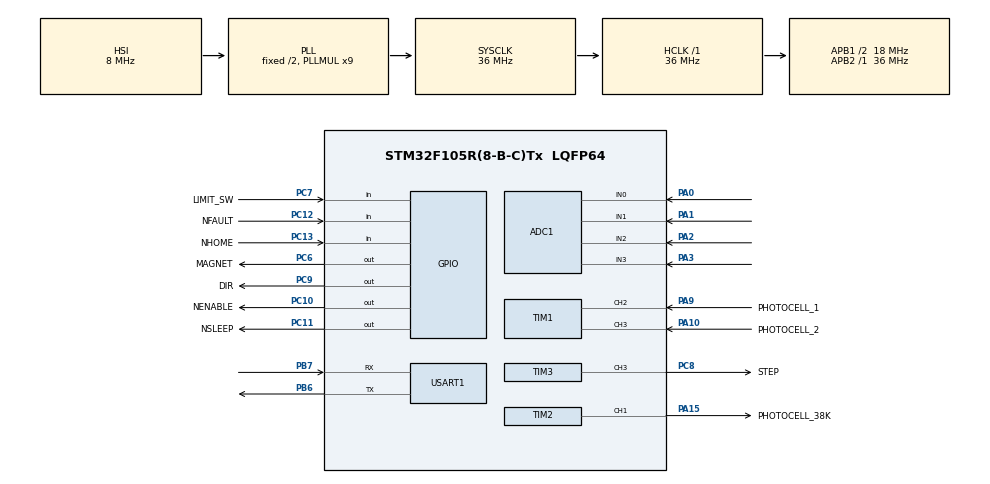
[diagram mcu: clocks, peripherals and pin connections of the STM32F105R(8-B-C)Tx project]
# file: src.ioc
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ADC1.Channel-0\#ChannelRegularConversion=ADC_CHANNEL_0
ADC1.NbrOfConversionFlag=1
ADC1.Rank-0\#ChannelRegularConversion=1
ADC1.SamplingTime-0\#ChannelRegularConversion=ADC_SAMPLETIME_1CYCLE_5
ADC1.master=1
Mcu.Family=STM32F1
Mcu.Name=STM32F105R(8-B-C)Tx
Mcu.Package=LQFP64
NVIC.PriorityGroup=NVIC_PRIORITYGROUP_4
PA0-WKUP.Signal=ADCx_IN0
PA1.Signal=ADCx_IN1
PA10.GPIO_Label=PHOTOCELL_2
PA10.Signal=S_TIM1_CH3
PA13.Mode=Serial_Wire
PA13.Signal=SYS_JTMS-SWDIO
PA14.Mode=Serial_Wire
PA14.Signal=SYS_JTCK-SWCLK
PA15.GPIO_Label=PHOTOCELL_38K
PA15.Signal=S_TIM2_CH1_ETR
PA2.Signal=ADCx_IN2
PA3.Signal=ADCx_IN3
PA9.GPIO_Label=PHOTOCELL_1
PA9.Signal=S_TIM1_CH2
PB6.Mode=Asynchronous
PB6.Signal=USART1_TX
PB7.Mode=Asynchronous
PB7.Signal=USART1_RX
PC10.GPIO_Label=NENABLE
PC10.Signal=GPIO_Output
PC11.GPIO_Label=NSLEEP
PC11.Signal=GPIO_Output
PC12.GPIO_Label=NFAULT
PC12.Signal=GPIO_Input
PC13-TAMPER-RTC.GPIO_Label=NHOME
PC13-TAMPER-RTC.Signal=GPIO_Input
PC6.GPIO_Label=MAGNET
PC6.Signal=GPIO_Output
PC7.GPIO_Label=LIMIT_SW
PC7.Signal=GPIO_Input
PC8.GPIO_Label=STEP
PC8.Signal=S_TIM3_CH3
PC9.GPIO_Label=DIR
PC9.Signal=GPIO_Output
PD0-OSC_IN.Mode=HSE-External-Oscillator
PD0-OSC_IN.Signal=RCC_OSC_IN
PD1-OSC_OUT.Mode=HSE-External-Oscillator
PD1-OSC_OUT.Signal=RCC_OSC_OUT
ProjectManager.HeapSize=0x200
ProjectManager.StackSize=0x400
ProjectManager.TargetToolchain=STM32CubeIDE
RCC.ADCPresc=RCC_ADCPCLK2_DIV6
RCC.AHBFreq_Value=36000000
RCC.APB1CLKDivider=RCC_HCLK_DIV2
RCC.APB1Freq_Value=18000000
RCC.APB1TimFreq_Value=36000000
RCC.APB2Freq_Value=36000000
RCC.APB2TimFreq_Value=36000000
RCC.HCLKFreq_Value=36000000
RCC.HSEDivPLL=RCC_HSE_PREDIV_DIV2
RCC.HSE_VALUE=16000000
RCC.PLLMUL=RCC_PLL_MUL9
RCC.SYSCLKFreq_VALUE=36000000
RCC.SYSCLKSource=RCC_SYSCLKSOURCE_PLLCLK
RCC.USBFreq_Value=24000000
SH.ADCx_IN0.0=ADC1_IN0,IN0
SH.ADCx_IN1.0=ADC1_IN1,IN1
SH.ADCx_IN2.0=ADC1_IN2,IN2
SH.ADCx_IN3.0=ADC1_IN3,IN3
SH.S_TIM1_CH2.0=TIM1_CH2,Input_Capture2_from_TI2
SH.S_TIM1_CH3.0=TIM1_CH3,Input_Capture3_from_TI3
SH.S_TIM2_CH1_ETR.0=TIM2_CH1,PWM Generation1 CH1
SH.S_TIM3_CH3.0=TIM3_CH3,PWM Generation3 CH3
TIM1.Channel-Input_Capture2_from_TI2=TIM_CHANNEL_2
TIM1.Channel-Input_Capture3_from_TI3=TIM_CHANNEL_3
TIM2.Channel-PWM\ Generation1\ CH1=TIM_CHANNEL_1
TIM3.Channel-PWM\ Generation3\ CH3=TIM_CHANNEL_3
TIM3.Period=9
TIM3.Prescaler=35999
USART1.VirtualMode=VM_ASYNC
VP_TIM1_VS_ClockSourceINT.Mode=Internal
VP_TIM2_VS_ClockSourceINT.Mode=Internal
VP_TIM3_VS_ClockSourceINT.Mode=Internal
board=custom

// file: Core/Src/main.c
/* USER CODE BEGIN Header */
/**
  ******************************************************************************
  * @file           : main.c
  * @brief          : Main program body
  ******************************************************************************
  * @attention
  *
  * Copyright (c) 2025 STMicroelectronics.
  * All rights reserved.
  *
  * This software is licensed under terms that can be found in the LICENSE file
  * in the root directory of this software component.
  * If no LICENSE file comes with this software, it is provided AS-IS.
  *
  ******************************************************************************
  */
/* USER CODE END Header */
#include "main.h"

/* USER CODE BEGIN Includes */

#include "stdint.h"
#include <stdbool.h>

/* USER CODE END Includes */

/* USER CODE BEGIN PTD */

typedef enum cmd_t
{
  cmdToRaise = 1234,
  cmdToDrop = 5678,
  cmdRaised = 4321,
  cmdDropped = 8765
} cmd_t;

/* USER CODE END PTD */

ADC_HandleTypeDef hadc1;

TIM_HandleTypeDef htim1;
TIM_HandleTypeDef htim2;
TIM_HandleTypeDef htim3;

UART_HandleTypeDef huart1;

void SystemClock_Config(void);
static void MX_GPIO_Init(void);
static void MX_ADC1_Init(void);
static void MX_TIM1_Init(void);
static void MX_TIM2_Init(void);
static void MX_TIM3_Init(void);
static void MX_USART1_UART_Init(void);

/* USER CODE BEGIN 0 */

//-----------------------------------------------------------------------------//

// Transmit data on UART
bool uartDataTx(uint8_t *data, uint16_t size)
{
  HAL_UART_Transmit(&huart1, data, size, 1000);
  return true;
}

// Receive data on UART
bool uartDataRx(uint8_t *data, uint16_t size)
{
  HAL_UART_Receive(&huart1, data, size, HAL_MAX_DELAY);
  return true;
}

//-----------------------------------------------------------------------------//

uint32_t calcDelay(uint32_t height)
{
  // TODO: Get time amount of stepper with given height, input here for proper calculation of delay
  return height * 2;
}

bool moveStepper(direction)
{
  // Set the stepper direction
  HAL_GPIO_WritePin(DIR_GPIO_Port, DIR_Pin, direction);

  // Get time from serial
  uint8_t height;
  uartDataRx(&height, sizeof(uint8_t));

  // Calculate the time for the delay during raising platform
  uint32_t delay = calcDelay(height);

  // Turn on the PWM for the stepper (100 Hz)
  HAL_TIM_PWM_Start(&htim3, TIM_CHANNEL_3);

  // Time duration of the PWM (calculated using calcDelay())
  HAL_Delay(delay);

  // Stop stepper
  HAL_TIM_PWM_Stop(&htim3, TIM_CHANNEL_3);
}

//-----------------------------------------------------------------------------//

void raise_fun()
{
  // Send response after getting request to raise platform
  uartDataTx((uint8_t*)cmdToRaise, sizeof(uint8_t));

  // Turn on electromagnet to catch the ball
  HAL_GPIO_WritePin(MAGNET_GPIO_Port, MAGNET_Pin, GPIO_PIN_SET);

  // Move stepper
  moveStepper(GPIO_PIN_RESET);

  // Send response after raising the platform
  uartDataTx((uint8_t*)cmdRaised, sizeof(uint8_t));
}

void drop_fun()
{
  // Send response after getting request to drop the ball
  uartDataTx((uint8_t*)cmdToDrop, sizeof(uint8_t));

  // Start reading data from ADC DMA
  uint32_t adcValue[1000];
  HAL_ADC_Start_DMA(&hadc1, &adcValue, 1000);

  // Release the electromagnet to drop the ball
  HAL_GPIO_WritePin(MAGNET_GPIO_Port, MAGNET_Pin, GPIO_PIN_RESET);
  HAL_Delay(1000);

  // Photocell

  // Send the data from ADC
  uartDataTx((uint8_t*)adcValue, sizeof(uint8_t));

  // Move stepper to initial position
  moveStepper(GPIO_PIN_SET);

  // Send response of the drop end
  uartDataTx(&cmdDropped, sizeof(uint32_t));
}

/* USER CODE END 0 */

int main(void)
{

  /* MCU Configuration--------------------------------------------------------*/

  /* Reset of all peripherals, Initializes the Flash interface and the Systick. */
  HAL_Init();

  /* Configure the system clock */
  SystemClock_Config();

  /* Initialize all configured peripherals */
  MX_GPIO_Init();
  MX_ADC1_Init();
  MX_TIM1_Init();
  MX_TIM2_Init();
  MX_TIM3_Init();
  MX_USART1_UART_Init();

  /* Infinite loop */
  while (1)
  {

    /* USER CODE BEGIN 3 */

	// Wait for command from GUI
    uint8_t cmd;
    uartDataRx(&cmd, 4);

    // Command handling
    switch (cmd)
    {
    case cmdToRaise:
      raise_fun();
      break;

    case cmdToDrop:
      drop_fun();
      break;

    default:
      break;
    }
  }
  /* USER CODE END 3 */
}

void SystemClock_Config(void)
{
  RCC_OscInitTypeDef RCC_OscInitStruct = {0};
  RCC_ClkInitTypeDef RCC_ClkInitStruct = {0};
  RCC_PeriphCLKInitTypeDef PeriphClkInit = {0};

  /** Initializes the RCC Oscillators according to the specified parameters
  * in the RCC_OscInitTypeDef structure.
  */
  RCC_OscInitStruct.OscillatorType = RCC_OSCILLATORTYPE_HSI;
  RCC_OscInitStruct.HSIState = RCC_HSI_ON;
  RCC_OscInitStruct.HSICalibrationValue = RCC_HSICALIBRATION_DEFAULT;
  RCC_OscInitStruct.Prediv1Source = RCC_PREDIV1_SOURCE_HSE;
  RCC_OscInitStruct.PLL.PLLState = RCC_PLL_ON;
  RCC_OscInitStruct.PLL.PLLSource = RCC_PLLSOURCE_HSI_DIV2;
  RCC_OscInitStruct.PLL.PLLMUL = RCC_PLL_MUL9;
  RCC_OscInitStruct.PLL2.PLL2State = RCC_PLL_NONE;
  if (HAL_RCC_OscConfig(&RCC_OscInitStruct) != HAL_OK)
  {
    Error_Handler();
  }

  /** Initializes the CPU, AHB and APB buses clocks
  */
  RCC_ClkInitStruct.ClockType = RCC_CLOCKTYPE_HCLK|RCC_CLOCKTYPE_SYSCLK
                              |RCC_CLOCKTYPE_PCLK1|RCC_CLOCKTYPE_PCLK2;
  RCC_ClkInitStruct.SYSCLKSource = RCC_SYSCLKSOURCE_PLLCLK;
  RCC_ClkInitStruct.AHBCLKDivider = RCC_SYSCLK_DIV1;
  RCC_ClkInitStruct.APB1CLKDivider = RCC_HCLK_DIV2;
  RCC_ClkInitStruct.APB2CLKDivider = RCC_HCLK_DIV1;

  if (HAL_RCC_ClockConfig(&RCC_ClkInitStruct, FLASH_LATENCY_1) != HAL_OK)
  {
    Error_Handler();
  }
  PeriphClkInit.PeriphClockSelection = RCC_PERIPHCLK_ADC;
  PeriphClkInit.AdcClockSelection = RCC_ADCPCLK2_DIV6;
  if (HAL_RCCEx_PeriphCLKConfig(&PeriphClkInit) != HAL_OK)
  {
    Error_Handler();
  }

  /** Configure the Systick interrupt time
  */
  __HAL_RCC_PLLI2S_ENABLE();
}

static void MX_ADC1_Init(void)
{

  ADC_ChannelConfTypeDef sConfig = {0};

  /** Common config
  */
  hadc1.Instance = ADC1;
  hadc1.Init.ScanConvMode = ADC_SCAN_DISABLE;
  hadc1.Init.ContinuousConvMode = DISABLE;
  hadc1.Init.DiscontinuousConvMode = DISABLE;
  hadc1.Init.ExternalTrigConv = ADC_SOFTWARE_START;
  hadc1.Init.DataAlign = ADC_DATAALIGN_RIGHT;
  hadc1.Init.NbrOfConversion = 1;
  if (HAL_ADC_Init(&hadc1) != HAL_OK)
  {
    Error_Handler();
  }

  /** Configure Regular Channel
  */
  sConfig.Channel = ADC_CHANNEL_0;
  sConfig.Rank = ADC_REGULAR_RANK_1;
  sConfig.SamplingTime = ADC_SAMPLETIME_1CYCLE_5;
  if (HAL_ADC_ConfigChannel(&hadc1, &sConfig) != HAL_OK)
  {
    Error_Handler();
  }

}

static void MX_TIM1_Init(void)
{

  TIM_ClockConfigTypeDef sClockSourceConfig = {0};
  TIM_MasterConfigTypeDef sMasterConfig = {0};
  TIM_IC_InitTypeDef sConfigIC = {0};

  htim1.Instance = TIM1;
  htim1.Init.Prescaler = 0;
  htim1.Init.CounterMode = TIM_COUNTERMODE_UP;
  htim1.Init.Period = 65535;
  htim1.Init.ClockDivision = TIM_CLOCKDIVISION_DIV1;
  htim1.Init.RepetitionCounter = 0;
  htim1.Init.AutoReloadPreload = TIM_AUTORELOAD_PRELOAD_DISABLE;
  if (HAL_TIM_Base_Init(&htim1) != HAL_OK)
  {
    Error_Handler();
  }
  sClockSourceConfig.ClockSource = TIM_CLOCKSOURCE_INTERNAL;
  if (HAL_TIM_ConfigClockSource(&htim1, &sClockSourceConfig) != HAL_OK)
  {
    Error_Handler();
  }
  if (HAL_TIM_IC_Init(&htim1) != HAL_OK)
  {
    Error_Handler();
  }
  sMasterConfig.MasterOutputTrigger = TIM_TRGO_RESET;
  sMasterConfig.MasterSlaveMode = TIM_MASTERSLAVEMODE_DISABLE;
  if (HAL_TIMEx_MasterConfigSynchronization(&htim1, &sMasterConfig) != HAL_OK)
  {
    Error_Handler();
  }
  sConfigIC.ICPolarity = TIM_INPUTCHANNELPOLARITY_RISING;
  sConfigIC.ICSelection = TIM_ICSELECTION_DIRECTTI;
  sConfigIC.ICPrescaler = TIM_ICPSC_DIV1;
  sConfigIC.ICFilter = 0;
  if (HAL_TIM_IC_ConfigChannel(&htim1, &sConfigIC, TIM_CHANNEL_2) != HAL_OK)
  {
    Error_Handler();
  }
  if (HAL_TIM_IC_ConfigChannel(&htim1, &sConfigIC, TIM_CHANNEL_3) != HAL_OK)
  {
    Error_Handler();
  }

}

static void MX_TIM2_Init(void)
{

  TIM_ClockConfigTypeDef sClockSourceConfig = {0};
  TIM_MasterConfigTypeDef sMasterConfig = {0};
  TIM_OC_InitTypeDef sConfigOC = {0};

  htim2.Instance = TIM2;
  htim2.Init.Prescaler = 0;
  htim2.Init.CounterMode = TIM_COUNTERMODE_UP;
  htim2.Init.Period = 65535;
  htim2.Init.ClockDivision = TIM_CLOCKDIVISION_DIV1;
  htim2.Init.AutoReloadPreload = TIM_AUTORELOAD_PRELOAD_DISABLE;
  if (HAL_TIM_Base_Init(&htim2) != HAL_OK)
  {
    Error_Handler();
  }
  sClockSourceConfig.ClockSource = TIM_CLOCKSOURCE_INTERNAL;
  if (HAL_TIM_ConfigClockSource(&htim2, &sClockSourceConfig) != HAL_OK)
  {
    Error_Handler();
  }
  if (HAL_TIM_PWM_Init(&htim2) != HAL_OK)
  {
    Error_Handler();
  }
  sMasterConfig.MasterOutputTrigger = TIM_TRGO_RESET;
  sMasterConfig.MasterSlaveMode = TIM_MASTERSLAVEMODE_DISABLE;
  if (HAL_TIMEx_MasterConfigSynchronization(&htim2, &sMasterConfig) != HAL_OK)
  {
    Error_Handler();
  }
  sConfigOC.OCMode = TIM_OCMODE_PWM1;
  sConfigOC.Pulse = 0;
  sConfigOC.OCPolarity = TIM_OCPOLARITY_HIGH;
  sConfigOC.OCFastMode = TIM_OCFAST_DISABLE;
  if (HAL_TIM_PWM_ConfigChannel(&htim2, &sConfigOC, TIM_CHANNEL_1) != HAL_OK)
  {
    Error_Handler();
  }
  HAL_TIM_MspPostInit(&htim2);

}

static void MX_TIM3_Init(void)
{

  TIM_ClockConfigTypeDef sClockSourceConfig = {0};
  TIM_MasterConfigTypeDef sMasterConfig = {0};
  TIM_OC_InitTypeDef sConfigOC = {0};

  htim3.Instance = TIM3;
  htim3.Init.Prescaler = 35999;
  htim3.Init.CounterMode = TIM_COUNTERMODE_UP;
  htim3.Init.Period = 9;
  htim3.Init.ClockDivision = TIM_CLOCKDIVISION_DIV1;
  htim3.Init.AutoReloadPreload = TIM_AUTORELOAD_PRELOAD_DISABLE;
  if (HAL_TIM_Base_Init(&htim3) != HAL_OK)
  {
    Error_Handler();
  }
  sClockSourceConfig.ClockSource = TIM_CLOCKSOURCE_INTERNAL;
  if (HAL_TIM_ConfigClockSource(&htim3, &sClockSourceConfig) != HAL_OK)
  {
    Error_Handler();
  }
  if (HAL_TIM_PWM_Init(&htim3) != HAL_OK)
  {
    Error_Handler();
  }
  sMasterConfig.MasterOutputTrigger = TIM_TRGO_RESET;
  sMasterConfig.MasterSlaveMode = TIM_MASTERSLAVEMODE_DISABLE;
  if (HAL_TIMEx_MasterConfigSynchronization(&htim3, &sMasterConfig) != HAL_OK)
  {
    Error_Handler();
  }
  sConfigOC.OCMode = TIM_OCMODE_PWM1;
  sConfigOC.Pulse = 0;
  sConfigOC.OCPolarity = TIM_OCPOLARITY_HIGH;
  sConfigOC.OCFastMode = TIM_OCFAST_DISABLE;
  if (HAL_TIM_PWM_ConfigChannel(&htim3, &sConfigOC, TIM_CHANNEL_3) != HAL_OK)
  {
    Error_Handler();
  }
  HAL_TIM_MspPostInit(&htim3);

}

static void MX_USART1_UART_Init(void)
{

  huart1.Instance = USART1;
  huart1.Init.BaudRate = 115200;
  huart1.Init.WordLength = UART_WORDLENGTH_8B;
  huart1.Init.StopBits = UART_STOPBITS_1;
  huart1.Init.Parity = UART_PARITY_NONE;
  huart1.Init.Mode = UART_MODE_TX_RX;
  huart1.Init.HwFlowCtl = UART_HWCONTROL_NONE;
  huart1.Init.OverSampling = UART_OVERSAMPLING_16;
  if (HAL_UART_Init(&huart1) != HAL_OK)
  {
    Error_Handler();
  }

}

static void MX_GPIO_Init(void)
{
  GPIO_InitTypeDef GPIO_InitStruct = {0};

  /* GPIO Ports Clock Enable */
  __HAL_RCC_GPIOC_CLK_ENABLE();
  __HAL_RCC_GPIOD_CLK_ENABLE();
  __HAL_RCC_GPIOA_CLK_ENABLE();
  __HAL_RCC_GPIOB_CLK_ENABLE();

  /*Configure GPIO pin Output Level */
  HAL_GPIO_WritePin(GPIOC, MAGNET_Pin|DIR_Pin|NENABLE_Pin|NSLEEP_Pin, GPIO_PIN_RESET);

  /*Configure GPIO pins : NHOME_Pin LIMIT_SW_Pin NFAULT_Pin */
  GPIO_InitStruct.Pin = NHOME_Pin|LIMIT_SW_Pin|NFAULT_Pin;
  GPIO_InitStruct.Mode = GPIO_MODE_INPUT;
  GPIO_InitStruct.Pull = GPIO_NOPULL;
  HAL_GPIO_Init(GPIOC, &GPIO_InitStruct);

  /*Configure GPIO pins : MAGNET_Pin DIR_Pin NENABLE_Pin NSLEEP_Pin */
  GPIO_InitStruct.Pin = MAGNET_Pin|DIR_Pin|NENABLE_Pin|NSLEEP_Pin;
  GPIO_InitStruct.Mode = GPIO_MODE_OUTPUT_PP;
  GPIO_InitStruct.Pull = GPIO_NOPULL;
  GPIO_InitStruct.Speed = GPIO_SPEED_FREQ_LOW;
  HAL_GPIO_Init(GPIOC, &GPIO_InitStruct);

}

void Error_Handler(void)
{
  __disable_irq();
  while (1)
  {
  }
}
